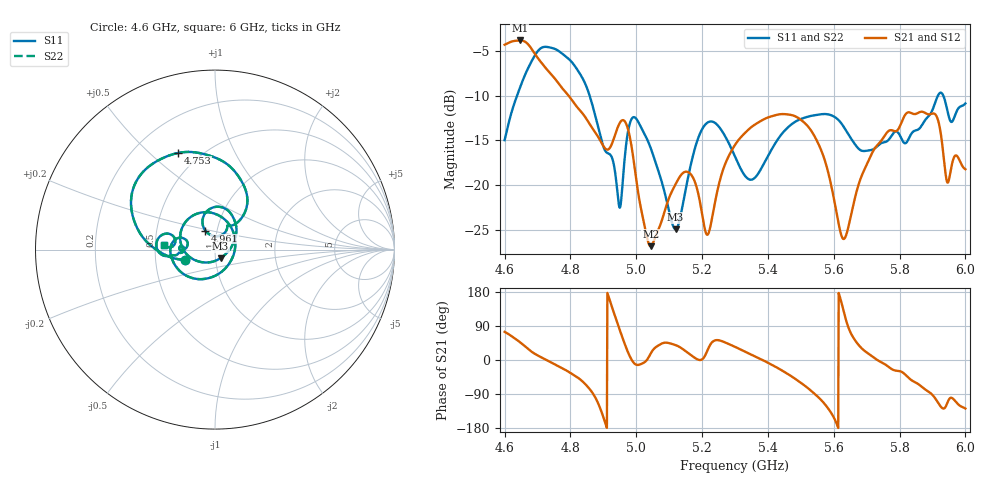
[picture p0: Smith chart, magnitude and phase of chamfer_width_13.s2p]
! TOUCHSTONE file generated by CST MICROWAVE STUDIO
! Date and time: Sat Nov 30 03:28:49 2024
! Project name: test_tuning.cst
! Parameters = {airCoaxOuterDiameter=3; chamferAngle=45; chamferWidth=26; connectorLength=10; drillingHoleDiameter=4.1; feedLength=60; flareDiameter=130; flareLength=70; gratingDistance=0; gratingGap=1.90274; outletLength=30; polarizerLength=134; probe1Diameter=1.3; probe1Distance=14; probe1Length=1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
! Header version: 2024
! Port assignment regex: !\s*Touchstone port\s*([0-9]+)\s*=\s*(CST MWS port|CST DES external port|CST DES block port)\s*(.+)\s* \(\"(.*)\"\)(\s*mode\s*([0-9]+))?.*
! Touchstone port assignment:
! Touchstone port 1 = CST MWS port 1 ("Input1")
! Touchstone port 2 = CST MWS port 2 ("Input2")
# GHz S MA R 50
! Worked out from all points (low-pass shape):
!   1001 points, 4.6 GHz to 6 GHz, reference 50 ohm
!   highest |S21| = -3.84 dB at 4.646 GHz (marker M1); lowest = -26.8 dB at 5.044 GHz (marker M2)
!   |S21| within 3 dB of the highest: start of sweep to 4.723 GHz
!   lowest |S11| = -24.9 dB at 5.119 GHz (marker M3), VSWR 1.12, Z = 52.9 - j5.04 ohm
!   |S11| at or under -10 dB: start of sweep to 4.638 GHz; 4.858 GHz to 5.917 GHz (1.058 GHz wide, 19.6 % of centre); 5.933 GHz to end of sweep
!   |S22| runs from -24.9 to -4.6 dB; largest |S21 - S12| = 5.4e-07
!   S11 on the Smith chart (normalised r, x): 4.6 GHz: 0.71, -0.08; 4.753 GHz: 0.38, +0.62; 4.961 GHz: 0.88, +0.19; 6 GHz: 0.56, +0.03
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4.6  0.1781 -161.7  0.6078 74.3  0.6078 74.3  0.1781 -161.7
4.6462  0.348 177.6  0.6424 47.3  0.6424 47.3  0.348 177.6
4.6994  0.5555 146.7  0.517 12.5  0.517 12.5  0.5555 146.7
4.7526  0.5763 110.9  0.3935 -11.5  0.3935 -11.5  0.5763 110.9
4.8338  0.404 68.0  0.2552 -54.3  0.2552 -54.3  0.404 68.0
4.9108  0.1516 61.1  0.1577 -179.1  0.1577 -179.1  0.1516 61.1
4.9486  0.07535 81.9  0.2202 82.4  0.2202 82.4  0.07535 81.9
4.9612  0.1185 117.0  0.2302 51.3  0.2302 51.3  0.1185 117.0
4.9892  0.2383 88.8  0.1494 -3.9  0.1494 -3.9  0.2383 88.8
5.0438  0.1611 42.0  0.04556 17.0  0.04556 17.0  0.1611 42.0
5.0676  0.1192 25.7  0.05654 38.6  0.05654 38.6  0.1192 25.7
5.1194  0.05666 -56.9  0.1011 39.3  0.1011 39.3  0.05666 -56.9
5.1684  0.1364 -158.1  0.1132 11.5  0.1132 11.5  0.1364 -158.1
5.2174  0.2239 139.9  0.05293 27.6  0.05293 27.6  0.2239 139.9
5.3  0.1443 46.7  0.1676 34.7  0.1676 34.7  0.1443 46.7
5.4134  0.1607 -101.0  0.2429 -13.4  0.2429 -13.4  0.1607 -101.0
5.5338  0.244 -165.8  0.1983 -83.2  0.1983 -83.2  0.244 -165.8
5.6304  0.2115 161.9  0.04995 127.7  0.04995 127.7  0.2115 161.9
5.7676  0.1797 -178.9  0.2011 -18.7  0.2011 -18.7  0.1797 -178.9
5.9048  0.2771 -172.4  0.2509 -97.1  0.2509 -97.1  0.2771 -172.4
5.9454  0.2599 161.1  0.1032 -112.8  0.1032 -112.8  0.2599 161.1
6  0.2857 174.9  0.1225 -128.1  0.1225 -128.1  0.2857 174.9
